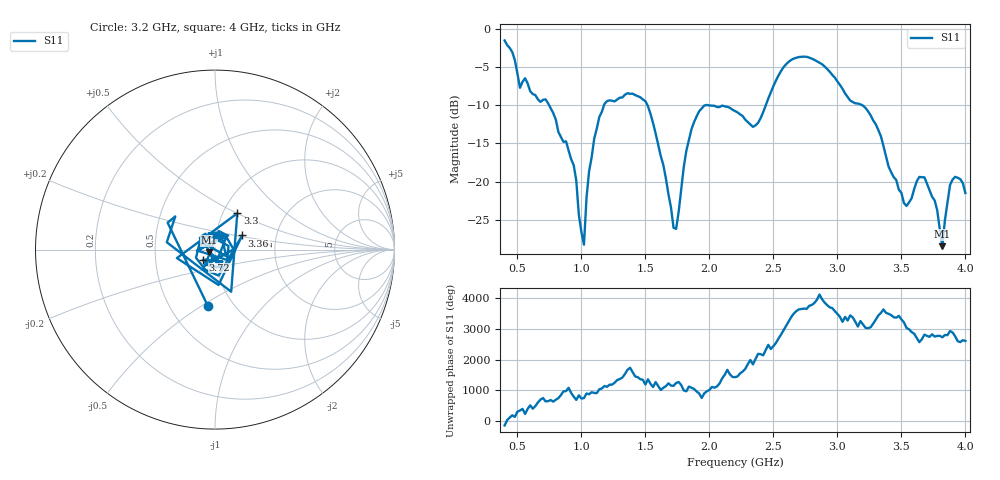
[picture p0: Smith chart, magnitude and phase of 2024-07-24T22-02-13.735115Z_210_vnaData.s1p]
!Created with skrf (http://scikit-rf.org).
# Hz S RI R 50.0
!freq ReS11 ImS11
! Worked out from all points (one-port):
!   181 points, 400 MHz to 4 GHz, reference 50 ohm
!   lowest |S11| = -28.5 dB at 3.82 GHz (marker M1), VSWR 1.08, Z = 46.7 - j1.51 ohm
!   |S11| at or under -10 dB: 1.516 GHz to 1.968 GHz (452 MHz wide, 25.9 % of centre); 1.992 GHz to 2.44 GHz (448.1 MHz wide, 20.2 % of centre); 3.195 GHz to end of sweep (the widest 3 of 4)
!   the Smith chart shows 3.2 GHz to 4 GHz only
!   S11 on the Smith chart (normalised r, x): 3.2 GHz: 0.76, -0.53; 3.3 GHz: 1.17, +0.50; 3.36 GHz: 1.34, +0.22; 3.72 GHz: 0.87, -0.10; 4 GHz: 1.00, +0.17
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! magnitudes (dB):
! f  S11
! 400 MHz  -1.5
! 520 MHz  -7.7
! 720 MHz  -9.2
! 860 MHz  -14.8
! 940 MHz  -17.9
! 1.02 GHz  -28.3
! 1.06 GHz  -18.6
! 1.14 GHz  -11.5
! 1.3 GHz  -9.0
! 1.5 GHz  -9.5
! 1.64 GHz  -17.8
! 1.72 GHz  -26.0
! 1.76 GHz  -23.9
! 1.82 GHz  -15.9
! 1.92 GHz  -10.8
! 2.2 GHz  -10.8
! 2.36 GHz  -12.6
! 2.66 GHz  -3.9
! 3.1 GHz  -9.4
! 3.2 GHz  -10.0
! 3.3 GHz  -12.5
! 3.36 GHz  -15.3
! 3.56 GHz  -22.7
! 3.64 GHz  -19.4
! 3.72 GHz  -21.1
! 3.82 GHz  -28.5
! 3.88 GHz  -20.4
! 4 GHz  -21.5
